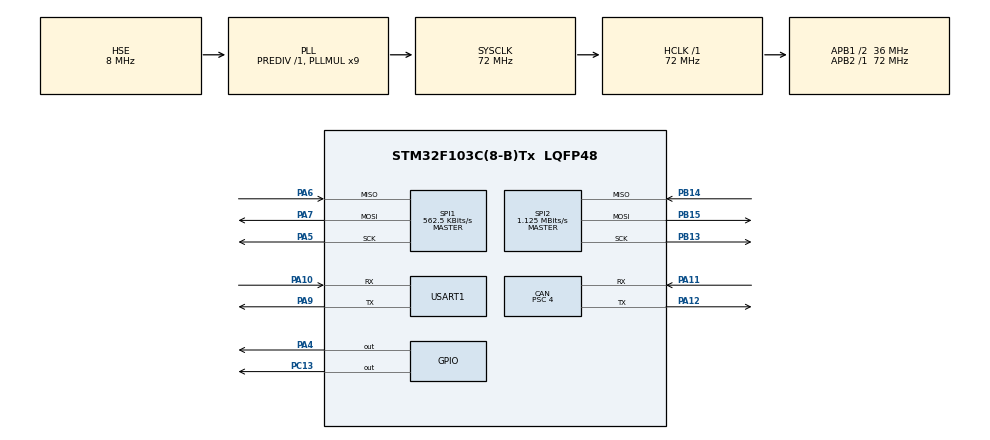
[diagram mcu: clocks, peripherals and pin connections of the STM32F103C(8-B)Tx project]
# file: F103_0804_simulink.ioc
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CAN.BS1=CAN_BS1_13TQ
CAN.BS2=CAN_BS2_4TQ
CAN.CalculateBaudRate=500000
CAN.CalculateTimeBit=2000
CAN.CalculateTimeQuantum=111.11111111111111
CAN.NART=DISABLE
CAN.Prescaler=4
CAN.SJW=CAN_SJW_4TQ
FREERTOS.Tasks01=RTOSTask1,16,512,StartDefaultTask,Default,NULL,Dynamic,NULL,NULL;myTask02,25,128,StartTask02,Default,NULL,Dynamic,NULL,NULL;myTask03,8,256,StartTask03,Default,NULL,Dynamic,NULL,NULL
FREERTOS.configENABLE_FPU=0
FREERTOS.configTOTAL_HEAP_SIZE=8192
Mcu.Family=STM32F1
Mcu.Name=STM32F103C(8-B)Tx
Mcu.Package=LQFP48
NVIC.CAN1_RX1_IRQn=true\:5\:0\:false\:false\:true\:true\:true\:true\:true
NVIC.CAN1_SCE_IRQn=true\:5\:0\:false\:false\:true\:true\:true\:true\:true
NVIC.PriorityGroup=NVIC_PRIORITYGROUP_4
NVIC.TIM1_UP_IRQn=true\:15\:0\:false\:false\:true\:false\:false\:true\:true
NVIC.TimeBase=TIM1_UP_IRQn
NVIC.TimeBaseIP=TIM1
NVIC.USB_HP_CAN1_TX_IRQn=true\:5\:0\:false\:false\:true\:true\:true\:true\:true
NVIC.USB_LP_CAN1_RX0_IRQn=true\:5\:0\:false\:false\:true\:true\:true\:true\:true
PA10.Mode=Asynchronous
PA10.Signal=USART1_RX
PA11.Mode=CAN_Activate
PA11.Signal=CAN_RX
PA12.Mode=CAN_Activate
PA12.Signal=CAN_TX
PA13.Mode=Serial_Wire
PA13.Signal=SYS_JTMS-SWDIO
PA14.Mode=Serial_Wire
PA14.Signal=SYS_JTCK-SWCLK
PA4.Signal=GPIO_Output
PA5.Mode=Full_Duplex_Master
PA5.Signal=SPI1_SCK
PA6.Mode=Full_Duplex_Master
PA6.Signal=SPI1_MISO
PA7.Mode=Full_Duplex_Master
PA7.Signal=SPI1_MOSI
PA9.Mode=Asynchronous
PA9.Signal=USART1_TX
PB13.Mode=Full_Duplex_Master
PB13.Signal=SPI2_SCK
PB14.Mode=Full_Duplex_Master
PB14.Signal=SPI2_MISO
PB15.Mode=Full_Duplex_Master
PB15.Signal=SPI2_MOSI
PC13-TAMPER-RTC.Signal=GPIO_Output
PC14-OSC32_IN.Mode=LSE-External-Oscillator
PC14-OSC32_IN.Signal=RCC_OSC32_IN
PC15-OSC32_OUT.Mode=LSE-External-Oscillator
PC15-OSC32_OUT.Signal=RCC_OSC32_OUT
PD0-OSC_IN.Mode=HSE-External-Oscillator
PD0-OSC_IN.Signal=RCC_OSC_IN
PD1-OSC_OUT.Mode=HSE-External-Oscillator
PD1-OSC_OUT.Signal=RCC_OSC_OUT
ProjectManager.HeapSize=0x200
ProjectManager.StackSize=0x400
ProjectManager.TargetToolchain=MDK-ARM V5.32
RCC.AHBFreq_Value=72000000
RCC.APB1CLKDivider=RCC_HCLK_DIV2
RCC.APB1Freq_Value=36000000
RCC.APB1TimFreq_Value=72000000
RCC.APB2Freq_Value=72000000
RCC.APB2TimFreq_Value=72000000
RCC.HCLKFreq_Value=72000000
RCC.PLLMUL=RCC_PLL_MUL9
RCC.PLLSourceVirtual=RCC_PLLSOURCE_HSE
RCC.SYSCLKFreq_VALUE=72000000
RCC.SYSCLKSource=RCC_SYSCLKSOURCE_PLLCLK
RCC.USBFreq_Value=72000000
SPI1.BaudRatePrescaler=SPI_BAUDRATEPRESCALER_128
SPI1.CLKPhase=SPI_PHASE_2EDGE
SPI1.CLKPolarity=SPI_POLARITY_HIGH
SPI1.CalculateBaudRate=562.5 KBits/s
SPI1.Direction=SPI_DIRECTION_2LINES
SPI1.Mode=SPI_MODE_MASTER
SPI1.VirtualType=VM_MASTER
SPI2.BaudRatePrescaler=SPI_BAUDRATEPRESCALER_32
SPI2.CLKPhase=SPI_PHASE_2EDGE
SPI2.CLKPolarity=SPI_POLARITY_HIGH
SPI2.CalculateBaudRate=1.125 MBits/s
SPI2.Direction=SPI_DIRECTION_2LINES
SPI2.Mode=SPI_MODE_MASTER
SPI2.VirtualType=VM_MASTER
USART1.VirtualMode=VM_ASYNC
VP_FREERTOS_VS_CMSIS_V2.Mode=CMSIS_V2
VP_SYS_VS_tim1.Mode=TIM1
board=custom

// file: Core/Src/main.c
/* USER CODE BEGIN Header */
/**
  ******************************************************************************
  * @file           : main.c
  * @brief          : Main program body
  ******************************************************************************
  * @attention
  *
  * Copyright (c) 2026 STMicroelectronics.
  * All rights reserved.
  *
  * This software is licensed under terms that can be found in the LICENSE file
  * in the root directory of this software component.
  * If no LICENSE file comes with this software, it is provided AS-IS.
  *
  ******************************************************************************
  */
/* USER CODE END Header */
#include "main.h"
#include "cmsis_os.h"
#include "can.h"
#include "spi.h"
#include "usart.h"
#include "gpio.h"

/* USER CODE BEGIN Includes */
#include "bms_hardware.h"
#include "F103_0804_simulink_model.h"
/* USER CODE END Includes */

void SystemClock_Config(void);
void MX_FREERTOS_Init(void);

int main(void)
{

  /* MCU Configuration--------------------------------------------------------*/

  /* Reset of all peripherals, Initializes the Flash interface and the Systick. */
  HAL_Init();

  /* Configure the system clock */
  SystemClock_Config();

  /* Initialize all configured peripherals */
  MX_GPIO_Init();
  MX_CAN_Init();
  MX_SPI1_Init();
  MX_SPI2_Init();
  MX_USART1_UART_Init();
  /* USER CODE BEGIN 2 */
  bms_hardware_init();

  /* Same sequence as f103_can_26_2_18 */
  if (Init_Filter() != HAL_OK)
  {
    Error_Handler();
  }
  if (HAL_CAN_Start(&hcan) != HAL_OK)
  {
    Error_Handler();
  }

  F103_0804_simulink_model_initialize();
  /* USER CODE END 2 */

  /* Init scheduler */
  osKernelInitialize();  /* Call init function for freertos objects (in cmsis_os2.c) */
  MX_FREERTOS_Init();

  /* Start scheduler */
  osKernelStart();

  /* We should never get here as control is now taken by the scheduler */

  /* Infinite loop */
  while (1)
  {

  }
}

void SystemClock_Config(void)
{
  RCC_OscInitTypeDef RCC_OscInitStruct = {0};
  RCC_ClkInitTypeDef RCC_ClkInitStruct = {0};

  /** Initializes the RCC Oscillators according to the specified parameters
  * in the RCC_OscInitTypeDef structure.
  */
  RCC_OscInitStruct.OscillatorType = RCC_OSCILLATORTYPE_HSE;
  RCC_OscInitStruct.HSEState = RCC_HSE_ON;
  RCC_OscInitStruct.HSEPredivValue = RCC_HSE_PREDIV_DIV1;
  RCC_OscInitStruct.HSIState = RCC_HSI_ON;
  RCC_OscInitStruct.PLL.PLLState = RCC_PLL_ON;
  RCC_OscInitStruct.PLL.PLLSource = RCC_PLLSOURCE_HSE;
  RCC_OscInitStruct.PLL.PLLMUL = RCC_PLL_MUL9;
  if (HAL_RCC_OscConfig(&RCC_OscInitStruct) != HAL_OK)
  {
    Error_Handler();
  }

  /** Initializes the CPU, AHB and APB buses clocks
  */
  RCC_ClkInitStruct.ClockType = RCC_CLOCKTYPE_HCLK|RCC_CLOCKTYPE_SYSCLK
                              |RCC_CLOCKTYPE_PCLK1|RCC_CLOCKTYPE_PCLK2;
  RCC_ClkInitStruct.SYSCLKSource = RCC_SYSCLKSOURCE_PLLCLK;
  RCC_ClkInitStruct.AHBCLKDivider = RCC_SYSCLK_DIV1;
  RCC_ClkInitStruct.APB1CLKDivider = RCC_HCLK_DIV2;
  RCC_ClkInitStruct.APB2CLKDivider = RCC_HCLK_DIV1;

  if (HAL_RCC_ClockConfig(&RCC_ClkInitStruct, FLASH_LATENCY_2) != HAL_OK)
  {
    Error_Handler();
  }
}

void HAL_TIM_PeriodElapsedCallback(TIM_HandleTypeDef *htim)
{
  if (htim->Instance == TIM1)
  {
    HAL_IncTick();
  }
}

void Error_Handler(void)
{
  __disable_irq();
  while (1)
  {
  }
}

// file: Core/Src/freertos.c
/* USER CODE BEGIN Header */
/**
  ******************************************************************************
  * File Name          : freertos.c
  * Description        : Code for freertos applications
  ******************************************************************************
  * @attention
  *
  * Copyright (c) 2026 STMicroelectronics.
  * All rights reserved.
  *
  * This software is licensed under terms that can be found in the LICENSE file
  * in the root directory of this software component.
  * If no LICENSE file comes with this software, it is provided AS-IS.
  *
  ******************************************************************************
  */
/* USER CODE END Header */

#include "FreeRTOS.h"
#include "task.h"
#include "main.h"
#include "cmsis_os.h"

/* USER CODE BEGIN Includes */
#include "F103_0804_simulink_model.h"
#include "rtwtypes.h"
#include "can.h"
/* USER CODE END Includes */

/* USER CODE BEGIN PD */
#define CAN_TEST_STD_ID   0x123U   /* 11-bit standard ID */
#define CAN_TEST_DLC      8U
/* USER CODE END PD */

/* Definitions for RTOSTask1 */
osThreadId_t RTOSTask1Handle;
const osThreadAttr_t RTOSTask1_attributes = {
  .name = "RTOSTask1",
  .stack_size = 512 * 4,
  .priority = (osPriority_t) osPriorityBelowNormal,
};
/* Definitions for myTask02 */
osThreadId_t myTask02Handle;
const osThreadAttr_t myTask02_attributes = {
  .name = "myTask02",
  .stack_size = 128 * 4,
  .priority = (osPriority_t) osPriorityNormal1,
};
/* Definitions for myTask03 */
osThreadId_t myTask03Handle;
const osThreadAttr_t myTask03_attributes = {
  .name = "myTask03",
  .stack_size = 256 * 4,
  .priority = (osPriority_t) osPriorityHigh,
};

void StartDefaultTask(void *argument);
void StartTask02(void *argument);
void StartTask03(void *argument);

void MX_FREERTOS_Init(void); /* (MISRA C 2004 rule 8.1) */

void MX_FREERTOS_Init(void) {
  /* USER CODE BEGIN Init */
  /* Survive Cube re-gen of main.c: create CAN TX sem + enable TX IRQ */
  MyCAN_InitTxIT();
  /* USER CODE END Init */

  /* Create the thread(s) */
  /* creation of RTOSTask1 */
  RTOSTask1Handle = osThreadNew(StartDefaultTask, NULL, &RTOSTask1_attributes);

  /* creation of myTask02 */
  myTask02Handle = osThreadNew(StartTask02, NULL, &myTask02_attributes);

  /* creation of myTask03 */
  myTask03Handle = osThreadNew(StartTask03, NULL, &myTask03_attributes);

}

void StartDefaultTask(void *argument)
{
  /* USER CODE BEGIN StartDefaultTask */

  /* Standard data frame (11-bit ID) */

  for (;;)
  {
    /* Sample busy-waits on SPI; leave off while verifying CAN TX */
//    Sample_function_call();
    osDelay(10);
  }
  /* USER CODE END StartDefaultTask */
}

void StartTask02(void *argument)
{
  /* USER CODE BEGIN StartTask02 */
  /* Infinite loop */
  for(;;)
  {
		LED_function_call();
    osDelay(10);
  }
  /* USER CODE END StartTask02 */
}

void StartTask03(void *argument)
{
  /* USER CODE BEGIN StartTask03 */
  CAN_TxHeaderTypeDef tx_hdr;
  uint8_t tx_data[8] = {0x01U, 0x02U, 0x03U, 0x04U, 0x05U, 0x06U, 0x07U, 0x08U};
  uint32_t tick;

  /* Standard data frame (11-bit ID) */
  tx_hdr.StdId = CAN_TEST_STD_ID;
  tx_hdr.ExtId = 0U;
  tx_hdr.IDE = CAN_ID_STD;
  tx_hdr.RTR = CAN_RTR_DATA;
  tx_hdr.DLC = CAN_TEST_DLC;
  tx_hdr.TransmitGlobalTime = DISABLE;

  tick = osKernelGetTickCount();
  for (;;)
  {
    (void)MyCAN_Transmit(&tx_hdr, tx_data);
    tick += 100U; /* 10 Hz while debugging TX */
    (void)osDelayUntil(tick);
  }
  /* USER CODE END StartTask03 */
}
